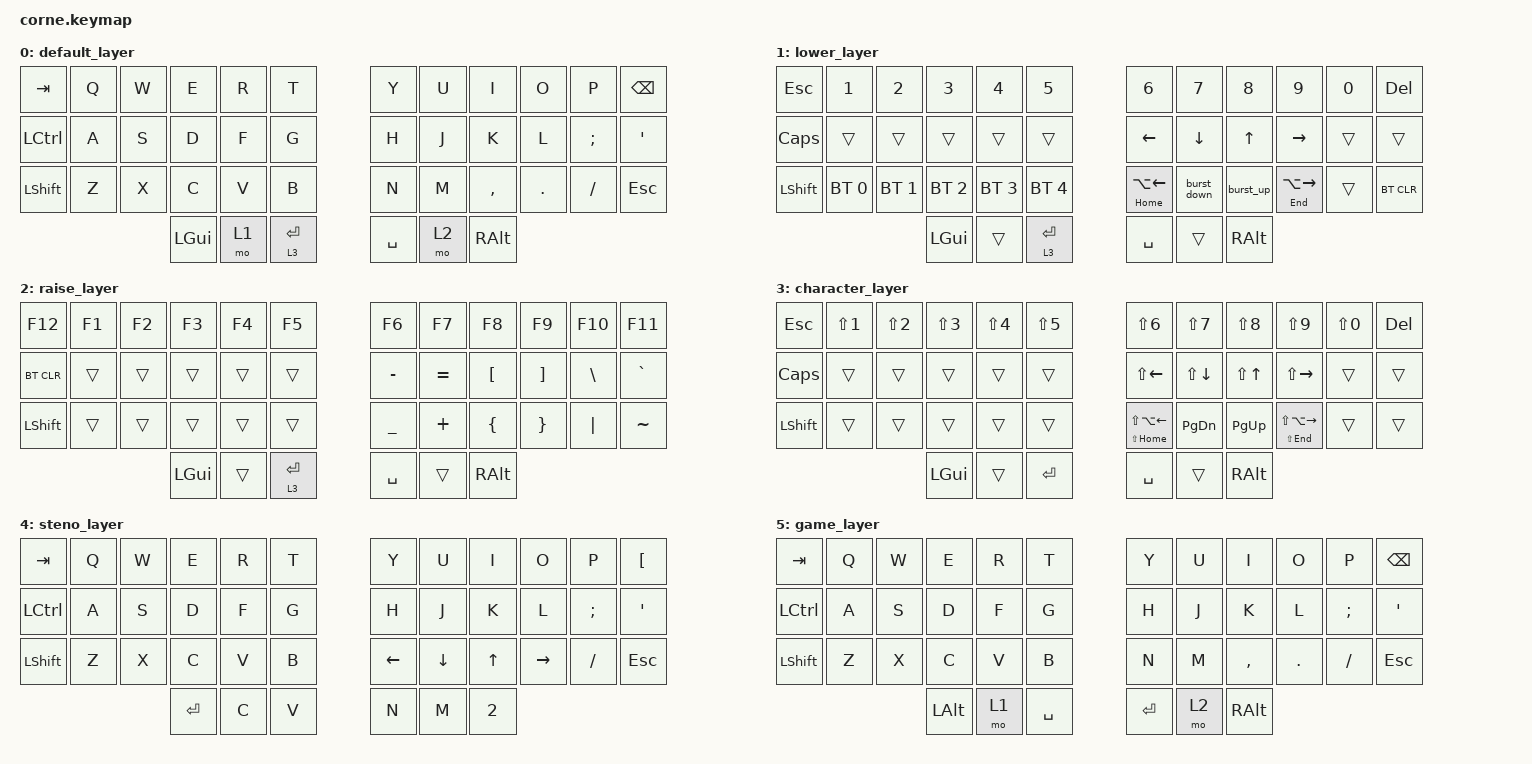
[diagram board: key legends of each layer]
/*
 * Copyright (c) 2020 The ZMK Contributors
 *
 * SPDX-License-Identifier: MIT
 */

#include <behaviors.dtsi>
#include <dt-bindings/zmk/keys.h>
#include <dt-bindings/zmk/bt.h>
#include <dt-bindings/zmk/outputs.h>

#define QUICK_TAP <200>


&mt {
    flavor = "tap-preferred";
    tapping-term-ms = <220>;
    quick-tap-ms = <220>;              // repeat on tap-into-hold
    hold-trigger-key-positions = <0>;  // tap on interrupt
};

&lt {
	flavor = "hold-preferred";
	tapping-term-ms = <210>;
	quick-tap-ms = <150>;
};

#define MACRO(name, keys)             \
name: name##_macro {                  \
	label = #name;                    \
	compatible = "zmk,behavior-macro";\
	#binding-cells = <0>;             \
	bindings = <keys>;                \
};

/ {
	macros {
		MACRO(burst_down,  &kp DOWN &kp DOWN &kp DOWN &kp DOWN)
		MACRO(burst_up,  &kp UP &kp UP &kp UP &kp UP)
	};
};



/* Combo key positions
 0  1  2  3  4  5      6  7  8  9 10 11 12
13 14 15 16 17 18     19 20 21 22 23 24 25
26 27 28 29 30 31     32 33 34 35 36 37 38
	 39 40 41     42 43 44             */

#define COMBO(name, keypress, keypos) \
combo_##name {                        \
	timeout-ms = <30>;                \
	bindings = <keypress>;            \
	key-positions = <keypos>;         \
};
/ {
	combos {
		compatible = "zmk,combos";
		COMBO(set_steno,   &tog 4, 0 5)
		COMBO(set_game,   &tog 5, 0 6)
	};
};




/ {
        keymap {
                compatible = "zmk,keymap";

                default_layer {
// -----------------------------------------------------------------------------------------
// |  TAB |  Q  |  W  |  E  |  R  |   T   |   |  Y  |  U   |  I  |  O  |  P  | BKSP |
// | CTRL |  A  |  S  |  D  |  F  |   G   |   |  H  |  J   |  K  |  L  |  ;  |  '   |
// | SHFT |  Z  |  X  |  C  |  V  |   B   |   |  N  |  M   |  ,  |  .  |  /  | ESC  |
//                    | GUI | LWR |ENT/CHR|   | SPC | RSE  | ALT |
                        bindings = <
   &kp TAB   &kp Q &kp W &kp E &kp R &kp T   &kp Y &kp U  &kp I     &kp O   &kp P    &kp BSPC
   &kp LCTRL &kp A &kp S &kp D &kp F &kp G   &kp H &kp J  &kp K     &kp L   &kp SEMI &kp SQT
   &kp LSHFT &kp Z &kp X &kp C &kp V &kp B   &kp N &kp M  &kp COMMA &kp DOT &kp FSLH &kp ESC
                  &kp LGUI &mo 1 &lt 3 RET   &kp SPACE &mo 2 &kp RALT
                        >;
                };
                lower_layer {
// -----------------------------------------------------------------------------------------
// |  ESC |  1  |  2  |  3  |  4  |   5   |   |  6        |  7  |  8  |  9  |  0  | DEL |
// | CAPS |     |     |     |     |       |   | LFT       | DWN |   UP | RGT |     |     |
// | SHFT | BT1 | BT2 | BT3 | BT4 |  BT5  |   |LA(LFT)/HOME| 4*DN| 4*UP| END |     |BTCLR|
//                    | GUI |     |ENT/CHR|   | SPC       |     | ALT |
                        bindings = <
   &kp ESC    &kp N1       &kp N2       &kp N3       &kp N4       &kp N5         &kp N6   &kp N7   &kp N8 &kp N9    &kp N0 &kp DEL
    &kp CAPS   &trans      &trans       &trans       &trans       &trans         &kp LEFT &kp DOWN &kp UP &kp RIGHT &trans &trans
   &kp LSHFT &bt BT_SEL 0 &bt BT_SEL 1 &bt BT_SEL 2 &bt BT_SEL 3  &bt BT_SEL 4   &mt HOME LA(LEFT)   &burst_down  &burst_up &mt END LA(RIGHT)   &trans &bt BT_CLR
                          	        &kp LGUI     &trans       &lt 3 RET      &kp SPACE  &trans   &kp RALT
                        >;
                };

                raise_layer {
// -----------------------------------------------------------------------------------------
// |  F12 |  F1 |  F2 |  F3 |  F4 |  F5  |   |  F6 |  F7 |  F8 |  F9 | F10 | F11  |
// | BTCLR|     |     |     |     |      |   |  -  |  =  |  [  |  ]  |  \  |  `   |
// | SHFT |     |     |     |     |      |   |  _  |  +  |  {  |  }  | "|" |  ~   |
//                    | GUI |     |ENT/CHR|   | SPC |     | ALT |
                        bindings = <
   &kp F12  &kp F1 &kp F2 &kp F3 &kp F4 &kp F5   &kp F6 &kp F7  &kp F8 &kp F9 &kp F10 &kp F11
  &bt BT_CLR &trans &trans &trans &trans &trans      &kp MINUS &kp EQUAL &kp LBKT        &kp RBKT &kp BSLH &kp GRAVE
   &kp LSHFT &trans   &trans &trans   &trans   &trans      &kp UNDER &kp PLUS  &kp LBRC        &kp RBRC &kp PIPE &kp TILDE
                    	     &kp LGUI &trans   &lt 3 RET   &kp SPACE   &trans    &kp RALT
                        >;
                };
                character_layer {
// -----------------------------------------------------------------------------------------
// |  ESC |  !  |  @  |  #  |  $  |  %  |   |  ^        |  &  |  *   |  (  |  )  | DEL |
// | CAPS |     |     |     |     |     |   | LFT       | DWN |   UP | RGT |     |     |
// | SHFT | BT1 | BT2 | BT3 | BT4 |     |   |LA(LFT)/HOME| 4*DN| 4*UP| END |     |BTCLR|
//                    | GUI |     | ENT |   | SPC       |     | ALT |
                        bindings = <
   &kp ESC    &kp LS(N1)   &kp LS(N2)   &kp LS(N3)   &kp LS(N4)   &kp LS(N5)      &kp LS(N6)   &kp LS(N7)   &kp LS(N8)  &kp LS(N9)    &kp LS(N0) &kp DEL
    &kp CAPS   &trans      &trans       &trans       &trans       &trans      &kp LS(LEFT)  &kp LS(DOWN)  &kp LS(UP) &kp LS(RIGHT) &trans     &trans
   &kp LSHFT   &trans      &trans       &trans       &trans       &trans   &mt LS(HOME) LS(LA(LEFT))   &kp PG_DN  &kp PG_UP &mt LS(END) LS(LA(RIGHT))   &trans &trans
                          	        &kp LGUI     &trans       &kp RET      &kp SPACE  &trans   &kp RALT
                        >;
                };
		steno_layer {
// -----------------------------------------------------------------------------------------
// |  TAB |  Q  |  W  |  E  |  R  |   T   |   |  Y  |  U   |  I  |  O  |  P  |  [   |
// | CTRL |  A  |  S  |  D  |  F  |   G   |   |  H  |  J   |  K  |  L  |  ;  |  '   |
// | SHFT |  Z  |  X  |  C  |  V  |   B   |   | LFT | DWN  |  UP | RGT |  /  | ESC  |
//                    | RET |  C  |   V   |   |  #  |  N   |  M  |
                        bindings = <
   &kp TAB   &kp Q &kp W &kp E &kp R &kp T   &kp Y &kp U  &kp I     &kp O   &kp P    &kp LBKT 
   &kp LCTRL &kp A &kp S &kp D &kp F &kp G   &kp H &kp J  &kp K     &kp L   &kp SEMI &kp SQT
   &kp LSHFT &kp Z &kp X &kp C &kp V &kp B   &kp LEFT &kp DOWN  &kp UP &kp RIGHT &kp FSLH &kp ESC
                       &kp RET &kp C &kp V   &kp N &kp M  &kp N2 
                        >;
                };
		  game_layer {
// -----------------------------------------------------------------------------------------
// |  TAB |  Q  |  W  |  E  |  R  |  T  |   |  Y  |  U   |  I  |  O  |  P  | BKSP |
// | CTRL |  A  |  S  |  D  |  F  |  G  |   |  H  |  J   |  K  |  L  |  ;  |  '   |
// | SHFT |  Z  |  X  |  C  |  V  |  B  |   |  N  |  M   |  ,  |  .  |  /  | ESC  |
//                    | ALT | LWR | SPC |   | ENT | RSE  | ALT |
                        bindings = <
   &kp TAB   &kp Q &kp W &kp E &kp R &kp T   &kp Y &kp U  &kp I     &kp O   &kp P    &kp BSPC
   &kp LCTRL &kp A &kp S &kp D &kp F &kp G   &kp H &kp J  &kp K     &kp L   &kp SEMI &kp SQT
   &kp LSHFT &kp Z &kp X &kp C &kp V &kp B   &kp N &kp M  &kp COMMA &kp DOT &kp FSLH &kp ESC
                  &kp LALT &mo 1 &kp SPACE   &kp RET &mo 2 &kp RALT
                        >;
                };
        };
};
